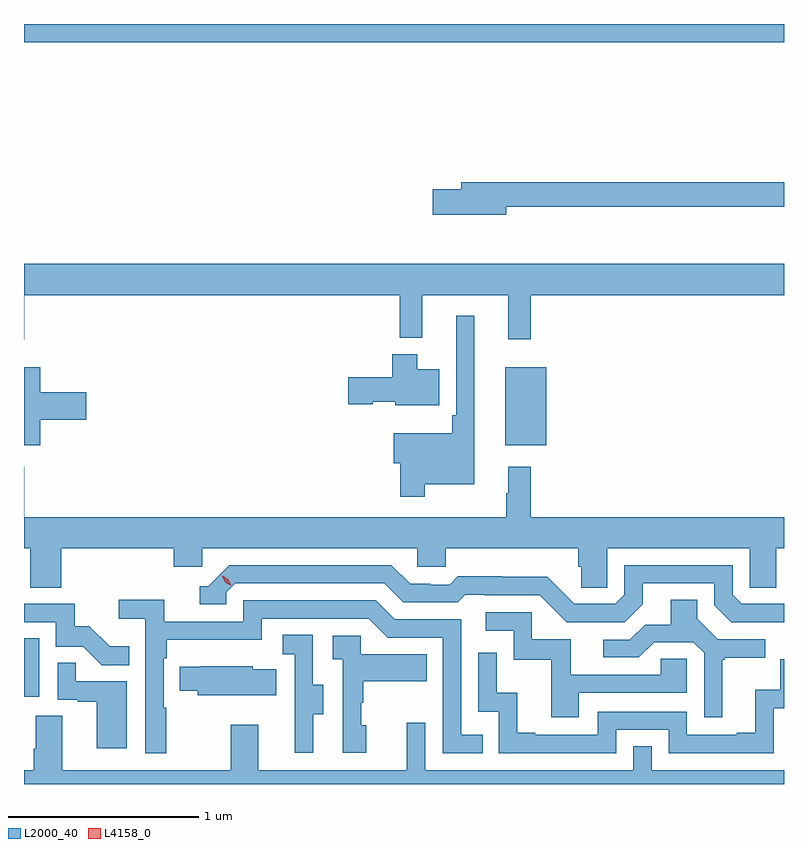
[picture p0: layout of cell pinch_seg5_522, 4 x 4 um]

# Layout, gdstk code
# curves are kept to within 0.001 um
import gdstk
lib = gdstk.Library(unit=1e-6, precision=1e-09)
def R(c, l, rs):  # rectangles x0, y0, x1, y1
    for r in rs: c.add(gdstk.rectangle(r[:2], r[2:], *l))
def P(c, l, *ps):  # polygons
    for p in ps: c.add(gdstk.Polygon(p, *l))
L2000_40 = (2000, 40)
L4158_0 = (4158, 0)

pinch_seg5_522 = lib.new_cell('pinch_seg5_522')
R(pinch_seg5_522, L2000_40, [(886.017,851.982,886.096,852.289), (888.551,853.307,888.766,853.717), (886.017,855.428,890.017,855.523)])
P(pinch_seg5_522, L2000_40, [(888.556,854.562),(890.017,854.562),(890.017,854.69),(888.317,854.69),(888.317,854.654),(888.168,854.654),(888.168,854.519),(888.556,854.519)],
  [(886.019,854.096),(887.995,854.096),(887.995,853.871),(888.113,853.871),(888.113,854.096),(888.566,854.096),(888.566,853.863),(888.683,853.863),(888.683,854.096),(890.017,854.096),(890.017,854.26),(886.017,854.26),(886.017,853.863),(886.019,853.863)],
  [(888.127,853.1),(888.388,853.1),(888.388,853.987),(888.291,853.987),(888.291,853.465),(888.271,853.465),(888.271,853.369),(887.964,853.369),(887.964,853.211),(887.998,853.211),(887.998,853.035),(888.127,853.035)],
  [(888.202,853.705),(888.088,853.705),(888.088,853.786),(887.954,853.786),(887.954,853.665),(887.724,853.665),(887.724,853.523),(887.853,853.523),(887.853,853.535),(887.97,853.535),(887.97,853.517),(888.202,853.517)],
  [(886.102,853.439),(886.345,853.439),(886.345,853.586),(886.102,853.586),(886.102,853.717),(886.017,853.717),(886.017,853.307),(886.102,853.307)],
  [(886.019,853.192),(886.017,853.192),(886.017,852.764),(886.049,852.764),(886.049,852.556),(886.214,852.556),(886.214,852.764),(886.805,852.764),(886.805,852.666),(886.956,852.666),(886.956,852.764),(888.087,852.764),(888.087,852.666),(888.237,852.666),(888.237,852.764),(888.935,852.764),(888.935,852.666),(888.949,852.666),(888.949,852.556),(889.086,852.556),(889.086,852.764),(889.836,852.764),(889.836,852.556),(889.975,852.556),(889.975,852.764),(890.017,852.764),(890.017,852.928),(888.683,852.928),(888.683,853.192),(888.566,853.192),(888.566,853.052),(888.555,853.052),(888.555,852.928),(886.019,852.928)],
  [(890.017,852.471),(889.794,852.471),(889.746,852.519),(889.746,852.675),(889.176,852.675),(889.176,852.519),(889.128,852.471),(888.912,852.471),(888.77,852.613),(888.534,852.613),(888.534,852.616),(888.301,852.616),(888.259,852.573),(888.156,852.573),(888.156,852.576),(888.049,852.576),(887.95,852.675),(887.097,852.675),(886.986,852.564),(886.943,852.564),(886.943,852.468),(887.082,852.468),(887.082,852.531),(887.13,852.579),(887.913,852.579),(888.012,852.48),(888.301,852.48),(888.34,852.519),(888.439,852.519),(888.439,852.516),(888.732,852.516),(888.873,852.375),(889.179,852.375),(889.273,852.469),(889.273,852.579),(889.65,852.579),(889.65,852.465),(889.74,852.375),(890.017,852.374)],
  [(889.693,852.177),(889.705,852.177),(889.705,852.188),(889.918,852.188),(889.918,852.285),(889.668,852.285),(889.561,852.392),(889.561,852.494),(889.421,852.494),(889.421,852.362),(889.286,852.362),(889.206,852.282),(889.065,852.282),(889.065,852.189),(889.252,852.189),(889.333,852.27),(889.539,852.27),(889.596,852.213),(889.596,851.874),(889.693,851.874)],
  [(886.765,851.924),(886.752,851.924),(886.752,852.185),(886.769,852.185),(886.769,852.281),(887.268,852.281),(887.268,852.393),(887.832,852.393),(887.931,852.294),(888.222,852.294),(888.222,851.685),(888.431,851.685),(888.431,851.781),(888.318,851.781),(888.318,852.39),(887.968,852.39),(887.869,852.489),(887.172,852.489),(887.172,852.378),(886.754,852.378),(886.754,852.494),(886.515,852.494),(886.515,852.392),(886.656,852.392),(886.656,851.685),(886.765,851.685)],
  [(886.571,852.247),(886.467,852.247),(886.36,852.354),(886.284,852.354),(886.284,852.471),(886.017,852.471),(886.017,852.375),(886.185,852.375),(886.185,852.246),(886.329,852.246),(886.427,852.148),(886.571,852.148)],
  [(888.937,852.003),(889.506,852.003),(889.506,852.183),(889.369,852.183),(889.369,852.099),(888.895,852.099),(888.895,852.285),(888.69,852.285),(888.69,852.426),(888.447,852.426),(888.447,852.33),(888.594,852.33),(888.594,852.177),(888.793,852.177),(888.793,851.874),(888.937,851.874)],
  [(887.539,851.89),(887.593,851.89),(887.593,852.045),(887.538,852.045),(887.538,852.308),(887.379,852.308),(887.379,852.205),(887.442,852.205),(887.442,851.901),(887.441,851.901),(887.441,851.688),(887.539,851.688)],
  [(887.818,851.832),(887.793,851.832),(887.793,851.951),(887.803,851.951),(887.803,852.065),(888.137,852.065),(888.137,852.205),(887.79,852.205),(887.79,852.303),(887.643,852.303),(887.643,852.179),(887.694,852.179),(887.694,851.688),(887.818,851.688)],
  [(889.134,851.808),(889.41,851.808),(889.41,851.685),(889.962,851.685),(889.962,851.921),(890.017,851.921),(890.017,852.18),(889.998,852.18),(889.998,852.019),(889.865,852.019),(889.865,851.794),(889.769,851.794),(889.769,851.781),(889.506,851.781),(889.506,851.904),(889.038,851.904),(889.038,851.781),(888.709,851.781),(888.709,851.794),(888.614,851.794),(888.614,852.002),(888.504,852.002),(888.504,852.214),(888.408,852.214),(888.408,851.904),(888.516,851.904),(888.516,851.685),(889.134,851.685)],
  [(886.558,852.063),(886.289,852.063),(886.289,852.161),(886.194,852.161),(886.194,851.967),(886.301,851.967),(886.301,851.955),(886.4,851.955),(886.4,851.712),(886.558,851.712)],
  [(887.345,852.127),(887.22,852.127),(887.22,852.142),(886.948,852.142),(886.948,852.141),(886.837,852.141),(886.837,852.013),(886.931,852.013),(886.931,851.99),(887.345,851.99)],
  [(890.017,851.596),(889.32,851.596),(889.32,851.723),(889.224,851.723),(889.224,851.596),(888.129,851.596),(888.129,851.845),(888.032,851.845),(888.032,851.596),(887.251,851.596),(887.251,851.836),(887.104,851.836),(887.104,851.596),(886.219,851.596),(886.219,851.882),(886.079,851.882),(886.079,851.708),(886.067,851.708),(886.067,851.596),(886.017,851.596),(886.017,851.523),(890.017,851.523)])
P(pinch_seg5_522, L4158_0, [(887.107,852.566),(887.077,852.586),(887.061,852.619),(887.061,852.619),(887.062,852.619),(887.092,852.599),(887.108,852.567),(887.108,852.566)])

lib.write_gds('pinch_seg5_522.gds')
